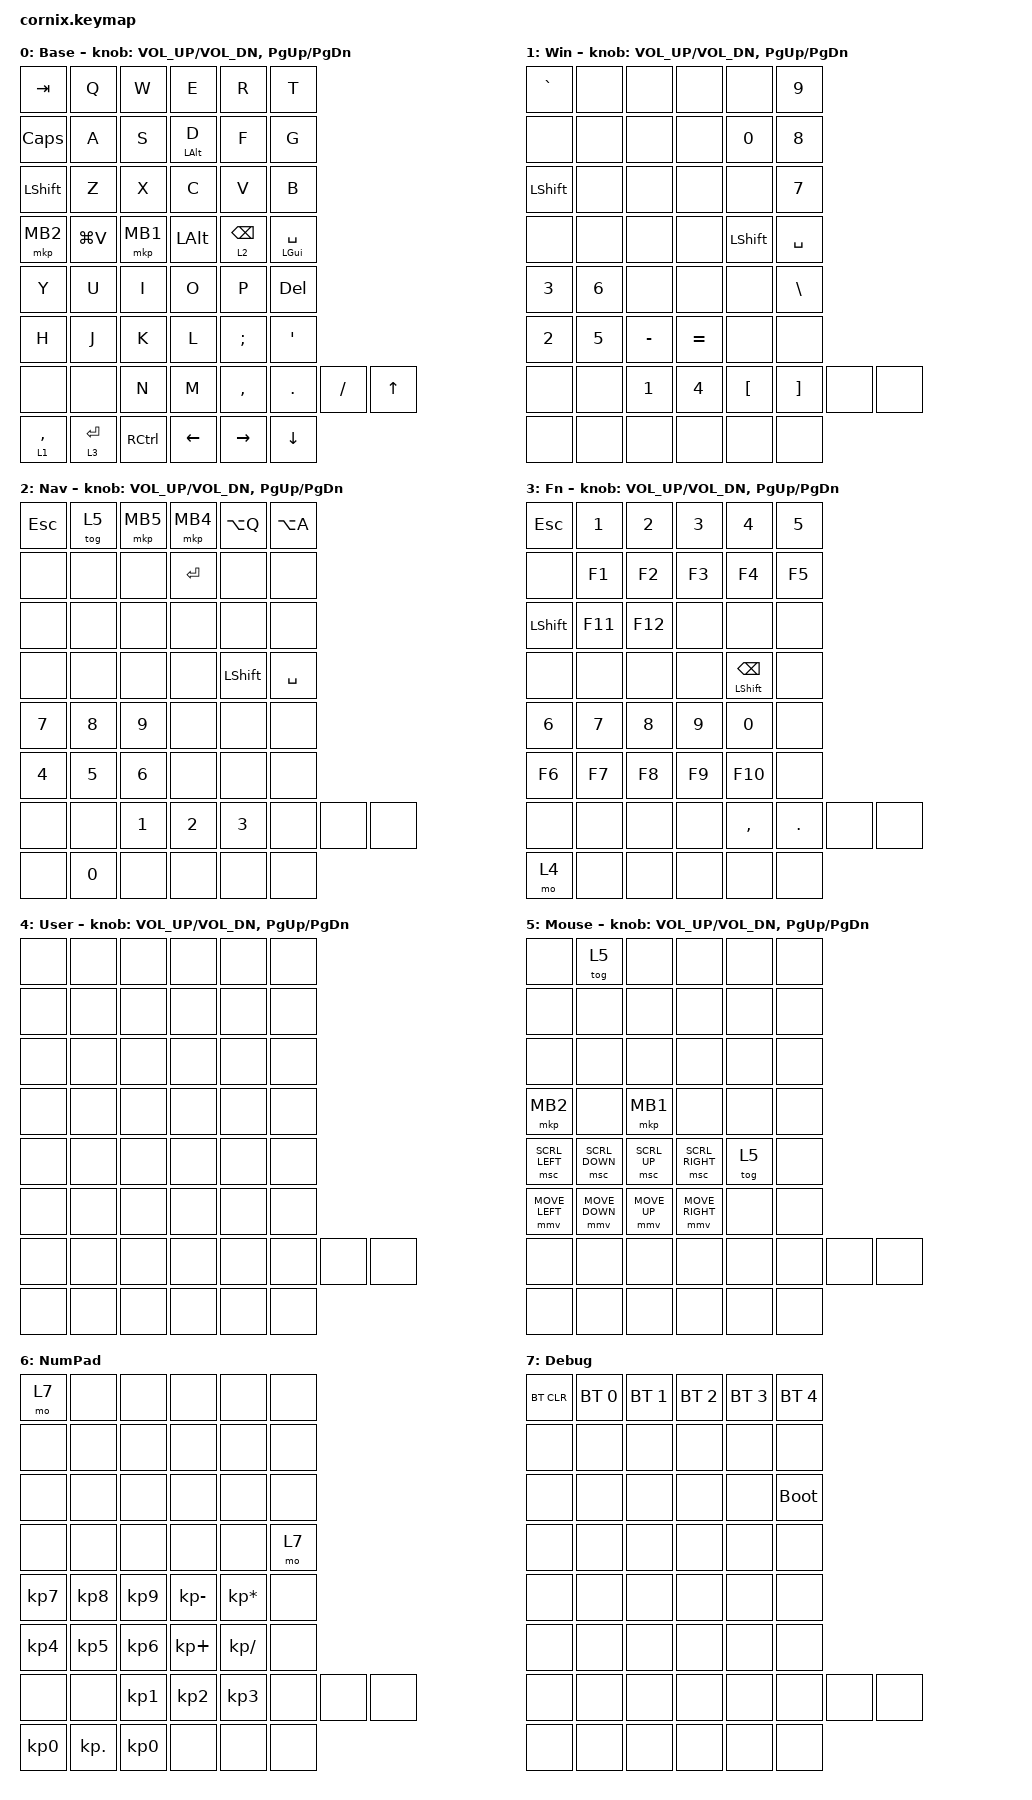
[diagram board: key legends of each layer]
/*
 * Copyright (c) 2020 The ZMK Contributors
 * Copyright (c) 2025 Cornix Keymap (migrated from Vial)
 *
 * SPDX-License-Identifier: MIT
 */

#include "zmk-helpers/helper.h"
#include "includes/cornix54.h"
#include <behaviors.dtsi>
#include <dt-bindings/zmk/bt.h>
#include <dt-bindings/zmk/keys.h>

// Homerow mod tapping term

#define HM_TAPPING_TERM 250
#define HM_TAPPING_REPEAT 210

// Quick tapping for shift

#define HM_TAPPING_TERM_FAST 200
#define HM_PRIOR_IDLE 70
#define BASE 0
#define WIN 1
#define NAV 2
#define FN 3
#define USER 4
#define MOUSE 5
#define NUM 6
#define DEBUG 7

// https://github.com/urob/zmk-config/tree/main#timeless-homerow-mods

#define KEYS_L LT0 LT1 LT2 LT3 LT4 LT5 LM0 LM1 LM2 LM3 LM4 LM5 LB0 LB1 LB2 LB3 LB4 LB5  // left hand
#define KEYS_R RT0 RT1 RT2 RT3 RT4 RT5 RM0 RM1 RM2 RM3 RM4 RM5 RB0 RB1 RB2 RB3 RB4 RB5  // right hand
#define THUMBS LH1 LH0 RH0 RH1
#define KEYS_T LH1 LH0 RH0 RH1
#define ZMK_POINTING_DEFAULT_SCRL_VAL 15

#include <dt-bindings/zmk/ext_power.h>
#include <dt-bindings/zmk/pointing.h>

/ {
    // Activate ADJUST layer by pressing raise and lower

    behaviors {
        hm_l: homerow_mods_left {
            compatible = "zmk,behavior-hold-tap";
            #binding-cells = <2>;
            bindings = <&kp>, <&kp>;

            flavor = "balanced";
            tapping-term-ms = <HM_TAPPING_TERM>;
            quick-tap-ms = <200>;                // repeat on tap-into-hold
            require-prior-idle-ms = <HM_PRIOR_IDLE>;
            hold-trigger-key-positions = <KEYS_R KEYS_T>;
            hold-trigger-on-release;
        };

        hm_r: homerow_mods_right {
            compatible = "zmk,behavior-hold-tap";
            #binding-cells = <2>;
            bindings = <&kp>, <&kp>;

            flavor = "balanced";
            tapping-term-ms = <HM_TAPPING_TERM>;
            quick-tap-ms = <200>;
            require-prior-idle-ms = <HM_PRIOR_IDLE>;
            hold-trigger-key-positions = <KEYS_L KEYS_T>;
            hold-trigger-on-release;
        };

        // Positional Homerow mods for shift
        // Use faster tapping term and disable some features that may
        // cause false negatives.

        hm_shift_l: hm_shift_l {
            compatible = "zmk,behavior-hold-tap";
            #binding-cells = <2>;
            bindings = <&kp>, <&kp>;

            flavor = "balanced";
            tapping-term-ms = <HM_TAPPING_TERM_FAST>;
            quick-tap-ms = <200>;
            require-prior-idle-ms = <HM_PRIOR_IDLE>;
            hold-trigger-key-positions = <KEYS_R KEYS_T>;
            hold-trigger-on-release;
        };

        hm_shift_r: hm_shift_r {
            compatible = "zmk,behavior-hold-tap";
            #binding-cells = <2>;
            bindings = <&kp>, <&kp>;

            flavor = "balanced";
            tapping-term-ms = <HM_TAPPING_TERM_FAST>;
            quick-tap-ms = <200>;
            require-prior-idle-ms = <HM_PRIOR_IDLE>;
            hold-trigger-key-positions = <KEYS_L KEYS_T>;
            hold-trigger-on-release;
        };

        /*
         * Non-Positional Homerow Mods
         * Used for &hm_grescm_gui behavior on left hand.
         *
         * Usage: &hm LSHFT T
         * Tap: T
         * Tap-Tap-Hold: Repeat T
         * Hold: LSHIFT
         */

        hm: homerow_mods {
            compatible = "zmk,behavior-hold-tap";
            #binding-cells = <2>;
            bindings = <&kp>, <&kp>;

            flavor = "balanced";
            tapping-term-ms = <HM_TAPPING_TERM>;
            quick-tap-ms = <200>;
        };

        lt: layer_tap {
            compatible = "zmk,behavior-hold-tap";
            #binding-cells = <2>;
            bindings = <&mo>, <&kp>;

            flavor = "hold-preferred";
            tapping-term-ms = <HM_TAPPING_TERM>;
            quick-tap-ms = <200>;
        };
    };

    conditional_layers {
        compatible = "zmk,conditional-layers";

        adjust_layer {
            if-layers = <3 2>;
            then-layer = <4>;
        };
    };

    combos {
        compatible = "zmk,combos";

        // Combos migrated from Vial config
        // Q+W → ESC (positions: LT4=1, LT3=2)
        cb_qw_esc {
            bindings = <&kp ESC>;
            key-positions = <1 2>;
            layers = <0 1>;
        };

        // R+T → LS(N9) = '(' (positions: LT1=4, LT0=5)
        cb_rt_lparen {
            bindings = <&kp LS(N9)>;
            key-positions = <4 5>;
            layers = <0 1>;
        };

        // Y+U → LS(N0) = ')' (positions: RT0=6, RT1=7)
        cb_yu_rparen {
            bindings = <&kp LS(N0)>;
            key-positions = <6 7>;
            layers = <0 1>;
        };

        // V+B → ' (positions: LB1=28, LB0=29)
        cb_vb_quote {
            bindings = <&kp SQT>;
            key-positions = <28 29>;
            layers = <0 1>;
        };
    };

    keymap {
        compatible = "zmk,keymap";

        // ============================================================
        // Layer 0: Base (migrated from Vial Layer 0)
        // ============================================================
        // Left:  | TAB  |  Q  |  W  |  E   |  R   |  T   |
        //        | CAPS |  A  |  S  |  D   |  F   |  G   |
        //        |SHIFT |  Z  |  X  |  C   |  V   |  B   |
        //        |BTN2  |GUIV |BTN1 | ALT  |L2/BSPC|L5/SPC|
        // Right: |  Y   |  U  |  I  |  O  |  P   | DEL  |
        //        |  H   |  J  |  K  |  L  |  ;   |  '   |
        //        |  N   |  M  |  ,  |  .  |  /   |  UP  |
        //        |L1/,  |L3/RET|RCTRL|LEFT |RIGHT | DOWN |

        default_layer {
            display-name = "Base";

            bindings = <
    &kp TAB    &kp Q     &kp W     &kp E           &kp R             &kp T
    &kp CAPS   &kp A     &kp S     &hm_l LALT D    &kp F             &kp G
    &kp LSHFT  &kp Z     &kp X     &kp C           &kp V             &kp B
    &mkp MB2   &kp LG(V) &mkp MB1  &kp LALT        &lt 2 BSPC        &hm_l LGUI SPACE

    &kp Y      &kp U     &kp I     &kp O           &kp P             &kp DEL
    &kp H      &kp J     &kp K     &kp L           &kp SEMI          &kp SQT
    &none      &none     &kp N     &kp M           &kp COMMA         &kp DOT        &kp FSLH       &kp UP
    &lt 1 COMMA  &lt 3 RET  &kp RCTRL  &kp LEFT        &kp RIGHT         &kp DOWN
            >;
            sensor-bindings = <&inc_dec_kp C_VOL_UP C_VOL_DN &inc_dec_kp PG_UP PG_DN>;
        };

        // ============================================================
        // Layer 1: Win (migrated from Vial Layer 1 - Number/Symbol)
        // ============================================================
        // Left:  |  `   |     |     |     |     |  9  |
        //        |      |     |     |     |  0  |  8  |
        //        |SHIFT |     |     |     |     |  7  |
        //        |      |     |     |     |SHIFT|SPACE|
        // Right: |  3   |  6  |     |     |     |  \  |
        //        |  2   |  5  |  -  |  =  |     |     |
        //        |  1   |  4  |  [  |  ]  |     |     |
        //        |      |     |     |     |     |     |

        win_layer {
            display-name = "Win";

            bindings = <
    &kp GRAVE  &none     &none     &none     &none     &kp N9
    &none      &none     &none     &none     &kp N0    &kp N8
    &kp LSHFT  &none     &none     &none     &none     &kp N7
    &none      &none     &none     &none     &kp LSHFT &kp SPACE

    &kp N3     &kp N6    &none     &none     &none     &kp BSLH
    &kp N2     &kp N5    &kp MINUS &kp EQUAL &none     &none
    &none      &none     &kp N1    &kp N4    &kp LBKT  &kp RBKT      &none          &none
    &none      &none     &none     &none     &none     &none
            >;
            sensor-bindings = <&inc_dec_kp C_VOL_UP C_VOL_DN &inc_dec_kp PG_UP PG_DN>;
        };

        // ============================================================
        // Layer 2: Nav (migrated from Vial Layer 2 - Navigation/Shortcuts)
        // ============================================================
        // Left:  |  ESC |TG(5)| BTN5 | BTN4 |ALT+Q|ALT+A|
        //        |      |     |      | ENTER|     |     |
        //        |      |     |      |      |     |     |
        //        |      |     |      |      |SHIFT|SPACE|
        // Right: |  7   |  8  |  9   |      |     |     |
        //        |  4   |  5  |  6   |      |     |     |
        //        |  1   |  2  |  3   |      |     |     |
        //        |      |  0  |      |      |     |     |

        nav_layer {
            display-name = "Nav";

            bindings = <
    &kp ESC    &tog 5    &mkp MB5  &mkp MB4  &kp LA(Q) &kp LA(A)
    &none      &none     &none     &kp RET   &none     &none
    &none      &none     &none     &none     &none     &none
    &none      &none     &none     &none     &kp LSHFT &kp SPACE

    &kp N7     &kp N8    &kp N9    &none     &none     &none
    &kp N4     &kp N5    &kp N6    &none     &none     &none
    &none      &none     &kp N1    &kp N2    &kp N3    &none         &none          &none
    &none      &kp N0    &none     &none     &none     &none
            >;
            sensor-bindings = <&inc_dec_kp C_VOL_UP C_VOL_DN &inc_dec_kp PG_UP PG_DN>;
        };

        // ============================================================
        // Layer 3: Fn (migrated from Vial Layer 3 - Function Keys)
        // ============================================================
        // Left:  |  ESC |  1  |  2  |  3  |  4  |  5  |
        //        |      |  F1 |  F2 |  F3 |  F4 |  F5 |
        //        |SHIFT | F11 | F12 |     |     |     |
        //        |      |     |     |     |S/BSPC|    |
        // Right: |  6   |  7  |  8  |  9  |  0  |     |
        //        |  F6  |  F7 |  F8 |  F9 | F10 |     |
        //        |      |     |     |     |  ,  |  .  |
        //        | MO(4)|     |     |     |     |     |

        fn_layer {
            display-name = "Fn";

            bindings = <
    &kp ESC    &kp N1    &kp N2    &kp N3    &kp N4             &kp N5
    &none      &kp F1    &kp F2    &kp F3    &kp F4             &kp F5
    &kp LSHFT  &kp F11   &kp F12   &none     &none              &none
    &none      &none     &none     &none     &hm_l LSHFT BSPC   &none

    &kp N6     &kp N7    &kp N8    &kp N9    &kp N0             &none
    &kp F6     &kp F7    &kp F8    &kp F9    &kp F10            &none
    &none      &none     &none     &none     &kp COMMA          &kp DOT        &none          &none
    &mo 4      &none     &none     &none     &none              &none
            >;
            sensor-bindings = <&inc_dec_kp C_VOL_UP C_VOL_DN &inc_dec_kp PG_UP PG_DN>;
        };

        // ============================================================
        // Layer 4: User (migrated from Vial Layer 4 - User Macros)
        // ============================================================
        // Left:  |      |     |     |     |     |     |
        //        |MACRO0|     |     |     |     |     |
        //        |MACRO1|     |     |     |     |     |
        //        |MACRO2|     |     |     |     |     |
        // Right: all unused

        user_layer {
            display-name = "User";

            bindings = <
    &none      &none     &none     &none     &none     &none
    &none      &none     &none     &none     &none     &none
    &none      &none     &none     &none     &none     &none
    &none      &none     &none     &none     &none     &none

    &none      &none     &none     &none     &none     &none
    &none      &none     &none     &none     &none     &none
    &none      &none     &none     &none     &none     &none         &none          &none
    &none      &none     &none     &none     &none     &none
            >;
            sensor-bindings = <&inc_dec_kp C_VOL_UP C_VOL_DN &inc_dec_kp PG_UP PG_DN>;
        };

        // ============================================================
        // Layer 5: Mouse (migrated from Vial Layer 5 - Mouse Control)
        // ============================================================
        // Left:  |      |TG(5)|     |     |     |     |
        //        |      |     |     |     |     |     |
        //        |      |     |     |     |     |     |
        //        | BTN2 |     |BTN1 |     |     |     |
        // Right: |SCR_L|SCR_D|SCR_U|SCR_R|TG(5)|     |
        //        |MV_L |MV_D |MV_U |MV_R |     |     |
        //        |      |     |     |     |     |     |
        //        |      |     |     |     |     |     |

        mouse_layer {
            display-name = "Mouse";

            bindings = <
    &none      &tog 5              &none       &none       &none       &none
    &none      &none               &none       &none       &none       &none
    &none      &none               &none       &none       &none       &none
    &mkp MB2   &none               &mkp MB1    &none       &none       &none

    &msc SCRL_LEFT  &msc SCRL_DOWN  &msc SCRL_UP  &msc SCRL_RIGHT  &tog 5              &none
    &mmv MOVE_LEFT  &mmv MOVE_DOWN  &mmv MOVE_UP  &mmv MOVE_RIGHT  &none               &none
    &none           &none           &none         &none            &none               &none         &none          &none
    &none           &none           &none         &none            &none               &none
            >;
            sensor-bindings = <&inc_dec_kp C_VOL_UP C_VOL_DN &inc_dec_kp PG_UP PG_DN>;
        };

        // ============================================================
        // Layer 6: NumPad (Keypad)
        // ============================================================
        KeyPad_layer {
            display-name = "NumPad";
            bindings = <
    &mo 7     &none     &none     &none     &none     &none
    &none     &none     &none     &none     &none     &none
    &none     &none     &none     &none     &none     &none
    &none     &none     &none     &none     &none     &mo 7

    &kp KP_N7        &kp KP_N8        &kp KP_N9        &kp KP_MINUS     &kp KP_MULTIPLY  &none
    &kp KP_NUMBER_4  &kp KP_NUMBER_5  &kp KP_N6        &kp KP_PLUS      &kp KP_DIVIDE    &none
    &none            &none            &kp KP_NUMBER_1  &kp KP_NUMBER_2   &kp KP_N3        &none         &none          &none
    &kp KP_N0        &kp KP_DOT       &kp KP_NUMBER_0  &none             &none            &none
            >;
        };

        // ============================================================
        // Layer 7: Debug
        // ============================================================
        Debug_layer {
            display-name = "Debug";
            bindings = <
    &bt BT_CLR  &bt BT_SEL 0  &bt BT_SEL 1  &bt BT_SEL 2  &bt BT_SEL 3  &bt BT_SEL 4
    &none       &none         &none         &none         &none         &none
    &none       &none         &none         &none         &none         &bootloader
    &none       &none         &none         &none         &none         &none

    &none       &none         &none         &none         &none         &none
    &none       &none         &none         &none         &none         &none
    &none       &none         &none         &none         &none         &none         &none          &none
    &none       &none         &none         &none         &none         &none
            >;
        };
    };
};
